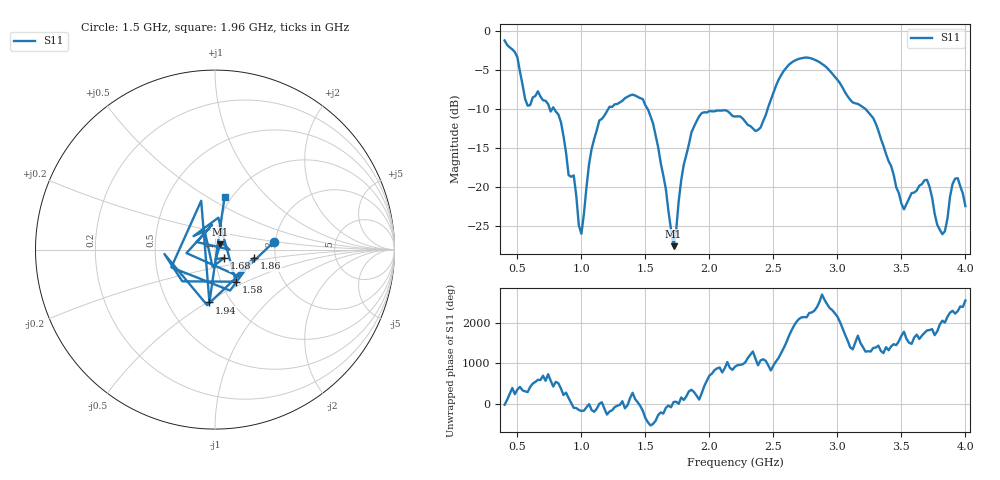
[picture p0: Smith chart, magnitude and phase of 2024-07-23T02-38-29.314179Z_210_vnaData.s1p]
!Created with skrf (http://scikit-rf.org).
# Hz S RI R 50.0
!freq ReS11 ImS11
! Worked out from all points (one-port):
!   181 points, 400 MHz to 4 GHz, reference 50 ohm
!   lowest |S11| = -27.6 dB at 1.72 GHz (marker M1), VSWR 1.09, Z = 52.9 + j3.18 ohm
!   |S11| at or under -10 dB: 786.5 MHz to 1.211 GHz (424.7 MHz wide, 42.5 % of centre); 1.516 GHz to 2.456 GHz (939.8 MHz wide, 47.3 % of centre); 3.216 GHz to end of sweep (the widest 3 of 4)
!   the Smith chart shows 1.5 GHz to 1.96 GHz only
!   S11 on the Smith chart (normalised r, x): 1.5 GHz: 1.97, +0.19; 1.58 GHz: 1.17, -0.44; 1.68 GHz: 1.11, -0.10; 1.86 GHz: 1.55, -0.15; 1.94 GHz: 0.79, -0.51; 1.96 GHz: 0.93, +0.60
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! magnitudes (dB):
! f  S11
! 400 MHz  -1.3
! 500 MHz  -3.4
! 580 MHz  -9.6
! 660 MHz  -7.8
! 860 MHz  -13.5
! 1 GHz  -26.0
! 1.06 GHz  -17.1
! 1.14 GHz  -11.5
! 1.3 GHz  -9.2
! 1.5 GHz  -9.6
! 1.58 GHz  -13.4
! 1.68 GHz  -23.1
! 1.72 GHz  -27.6
! 1.76 GHz  -21.9
! 1.86 GHz  -13.0
! 1.94 GHz  -10.6
! 1.96 GHz  -10.5
! 2.2 GHz  -11.0
! 2.4 GHz  -12.4
! 2.66 GHz  -3.9
! 3.1 GHz  -8.9
! 3.28 GHz  -11.2
! 3.52 GHz  -22.9
! 3.56 GHz  -21.5
! 3.7 GHz  -19.1
! 3.82 GHz  -26.1
! 3.92 GHz  -19.0
! 4 GHz  -22.5
